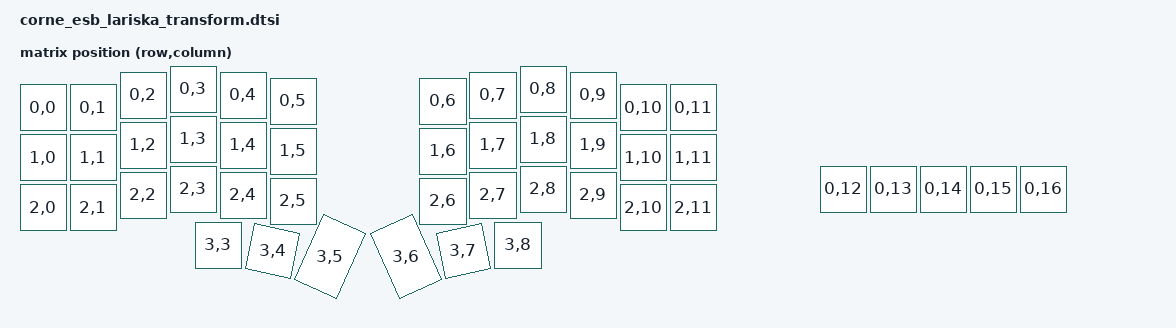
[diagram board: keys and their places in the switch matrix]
/*
 * Extends the corne default_transform and physical layout to include 5
 * lariska mouse-button positions at row 0, columns 12-16 (positions 42-46).
 * Keyboard positions 0-41 are unchanged.
 *
 * Include this file in both the corne_esb_lariska peripheral overlay and the
 * corne_esb dongle overlay.
 */

&default_transform {
    columns = <17>;
    map = <
        RC(0,0) RC(0,1) RC(0,2) RC(0,3) RC(0,4) RC(0,5)  RC(0,6) RC(0,7) RC(0,8) RC(0,9) RC(0,10) RC(0,11)
        RC(1,0) RC(1,1) RC(1,2) RC(1,3) RC(1,4) RC(1,5)  RC(1,6) RC(1,7) RC(1,8) RC(1,9) RC(1,10) RC(1,11)
        RC(2,0) RC(2,1) RC(2,2) RC(2,3) RC(2,4) RC(2,5)  RC(2,6) RC(2,7) RC(2,8) RC(2,9) RC(2,10) RC(2,11)
                                RC(3,3) RC(3,4) RC(3,5)  RC(3,6) RC(3,7) RC(3,8)
        /* Lariska mouse buttons: 5 keys at row 0, cols 12-16 (positions 42-46) */
        RC(0,12) RC(0,13) RC(0,14) RC(0,15) RC(0,16)
    >;
};

&corne_esb_physical_layout {
    keys  //                     w   h    x    y     rot    rx    ry
        /* Row 0 */
        = <&key_physical_attrs 100 100    0   37       0     0     0>
        , <&key_physical_attrs 100 100  100   37       0     0     0>
        , <&key_physical_attrs 100 100  200   12       0     0     0>
        , <&key_physical_attrs 100 100  300    0       0     0     0>
        , <&key_physical_attrs 100 100  400   12       0     0     0>
        , <&key_physical_attrs 100 100  500   24       0     0     0>
        , <&key_physical_attrs 100 100  800   24       0     0     0>
        , <&key_physical_attrs 100 100  900   12       0     0     0>
        , <&key_physical_attrs 100 100 1000    0       0     0     0>
        , <&key_physical_attrs 100 100 1100   12       0     0     0>
        , <&key_physical_attrs 100 100 1200   37       0     0     0>
        , <&key_physical_attrs 100 100 1300   37       0     0     0>
        /* Row 1 */
        , <&key_physical_attrs 100 100    0  137       0     0     0>
        , <&key_physical_attrs 100 100  100  137       0     0     0>
        , <&key_physical_attrs 100 100  200  112       0     0     0>
        , <&key_physical_attrs 100 100  300  100       0     0     0>
        , <&key_physical_attrs 100 100  400  112       0     0     0>
        , <&key_physical_attrs 100 100  500  124       0     0     0>
        , <&key_physical_attrs 100 100  800  124       0     0     0>
        , <&key_physical_attrs 100 100  900  112       0     0     0>
        , <&key_physical_attrs 100 100 1000  100       0     0     0>
        , <&key_physical_attrs 100 100 1100  112       0     0     0>
        , <&key_physical_attrs 100 100 1200  137       0     0     0>
        , <&key_physical_attrs 100 100 1300  137       0     0     0>
        /* Row 2 */
        , <&key_physical_attrs 100 100    0  237       0     0     0>
        , <&key_physical_attrs 100 100  100  237       0     0     0>
        , <&key_physical_attrs 100 100  200  212       0     0     0>
        , <&key_physical_attrs 100 100  300  200       0     0     0>
        , <&key_physical_attrs 100 100  400  212       0     0     0>
        , <&key_physical_attrs 100 100  500  224       0     0     0>
        , <&key_physical_attrs 100 100  800  224       0     0     0>
        , <&key_physical_attrs 100 100  900  212       0     0     0>
        , <&key_physical_attrs 100 100 1000  200       0     0     0>
        , <&key_physical_attrs 100 100 1100  212       0     0     0>
        , <&key_physical_attrs 100 100 1200  237       0     0     0>
        , <&key_physical_attrs 100 100 1300  237       0     0     0>
        /* Row 3 thumbs */
        , <&key_physical_attrs 100 100  350  312       0     0     0>
        , <&key_physical_attrs 100 100  450  312    1200   450   412>
        , <&key_physical_attrs 100 150  548  283    2400   548   433>
        , <&key_physical_attrs 100 150  752  283  (-2400)  852   433>
        , <&key_physical_attrs 100 100  850  312  (-1200)  950   412>
        , <&key_physical_attrs 100 100  950  312       0     0     0>
        /* Lariska mouse buttons (placed to the right of the keyboard) */
        , <&key_physical_attrs 100 100 1600  200       0     0     0>
        , <&key_physical_attrs 100 100 1700  200       0     0     0>
        , <&key_physical_attrs 100 100 1800  200       0     0     0>
        , <&key_physical_attrs 100 100 1900  200       0     0     0>
        , <&key_physical_attrs 100 100 2000  200       0     0     0>
        ;
};
